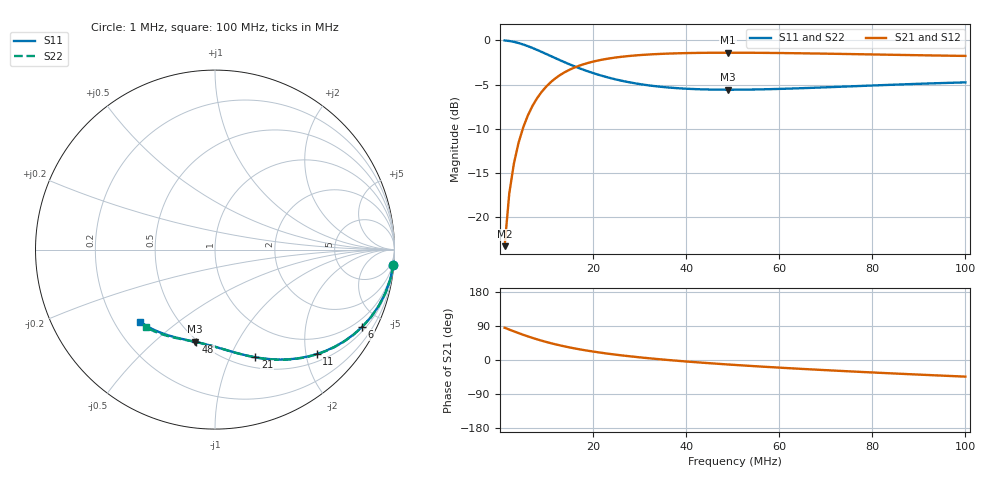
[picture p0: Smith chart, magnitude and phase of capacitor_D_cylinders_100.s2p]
!Created with skrf (http://scikit-rf.org).
# MHz S RI R 50.0
!freq ReS11 ImS11 ReS21 ImS21 ReS12 ImS12 ReS22 ImS22
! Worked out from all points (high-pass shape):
!   100 points, 1 MHz to 100 MHz, reference 50 ohm
!   highest |S21| = -1.40 dB at 49 MHz (marker M1); lowest = -23.3 dB at 1 MHz (marker M2)
!   |S21| within 3 dB of the highest: 11.67 MHz to end of sweep
!   lowest |S11| = -5.6 dB at 49 MHz (marker M3), VSWR 3.22, Z = 24.1 - j34.3 ohm
!   |S11| at or under -10 dB: nowhere
!   |S22| runs from -5.6 to 0.0 dB; largest |S21 - S12| = 7.8e-14
!   S11 on the Smith chart (normalised r, x): 1 MHz: 1, -24; 6 MHz: 0.65, -3.96; 11 MHz: 0.65, -2.21; 21 MHz: 0.61, -1.25; 48 MHz: 0.49, -0.69; 100 MHz: 0.31, -0.37
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1  0.9941 -0.0845  0.00583 0.0684  0.00583 0.0684  0.994 -0.0848
! Port Impedance 50.00000000000000 0.00000000000000 50.00000000000000 0.00000000000000
2  0.9766 -0.1664  0.0229 0.1343  0.0229 0.1343  0.9765 -0.1671
3  0.9488 -0.2434  0.0502 0.1952  0.0502 0.1952  0.9485 -0.2444
4  0.9122 -0.3136  0.0859 0.2494  0.0859 0.2494  0.9117 -0.3149
5  0.8688 -0.3759  0.1282 0.2956  0.1282 0.2956  0.8682 -0.3774
6  0.8207 -0.4297  0.175 0.3334  0.175 0.3334  0.8199 -0.4313
8  0.7179 -0.512  0.2744 0.3837  0.2744 0.3837  0.7166 -0.5138
9  0.6661 -0.5417  0.324 0.3973  0.324 0.3973  0.6646 -0.5435
11  0.5672 -0.5821  0.4179 0.4059  0.4179 0.4059  0.5653 -0.5839
14  0.4374 -0.6088  0.5382 0.3852  0.5382 0.3852  0.4352 -0.6103
18  0.3024 -0.6098  0.6569 0.3243  0.6569 0.3243  0.3002 -0.6109
21  0.2251 -0.5997  0.7194 0.2687  0.7194 0.2687  0.2232 -0.6004
24  0.163 -0.5867  0.7645 0.2114  0.7645 0.2114  0.1616 -0.5871
27  0.1122 -0.5736  0.7964 0.1552  0.7964 0.1552  0.1114 -0.5738
34  0.0218 -0.5477  0.8357 0.0341  0.8357 0.0341  0.0229 -0.5476
40  -0.0375 -0.5313  0.8444 -0.0571  0.8444 -0.0571  -0.0344 -0.5316
48  -0.1036 -0.5155  0.835 -0.1623  0.835 -0.1623  -0.0971 -0.5167
49  -0.1112 -0.5138  0.8327 -0.1743  0.8327 -0.1743  -0.1042 -0.5152
51  -0.126 -0.5105  0.8273 -0.1975  0.8273 -0.1975  -0.1182 -0.5124
67  -0.2344 -0.485  0.7644 -0.3543  0.7644 -0.3543  -0.2186 -0.4924
84  -0.3352 -0.449  0.6768 -0.4774  0.6768 -0.4774  -0.3105 -0.4665
100  -0.417 -0.4006  0.588 -0.5656  0.588 -0.5656  -0.3841 -0.4323
